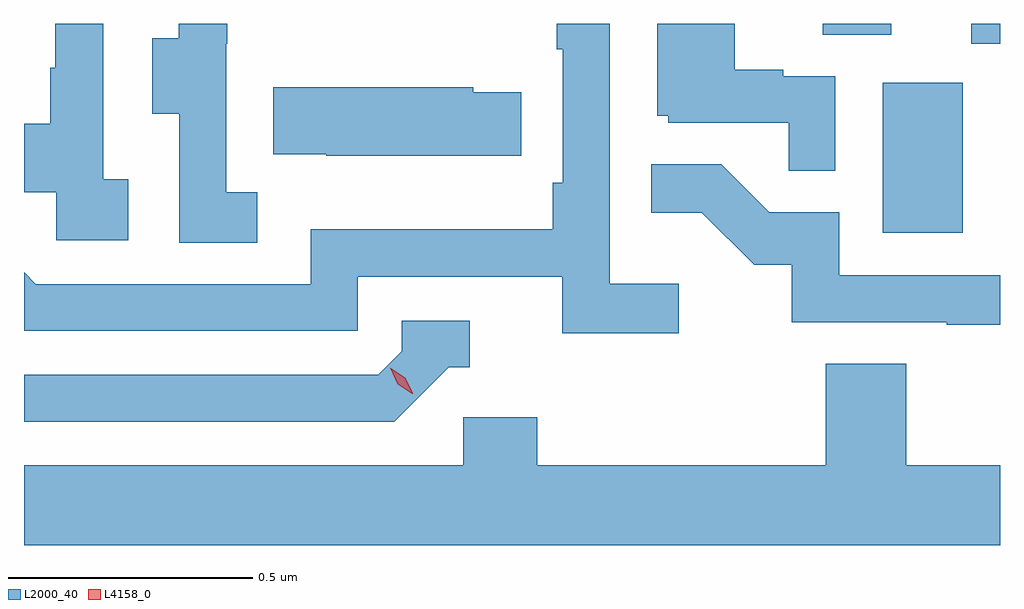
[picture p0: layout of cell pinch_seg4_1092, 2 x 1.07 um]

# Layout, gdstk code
import gdstk
lib = gdstk.Library(unit=1e-6, precision=1e-09)
def R(c, l, rs):  # rectangles x0, y0, x1, y1
    for r in rs: c.add(gdstk.rectangle(r[:2], r[2:], *l))
def P(c, l, *ps):  # polygons
    for p in ps: c.add(gdstk.Polygon(p, *l))
L2000_40 = (2000, 40)
L4158_0 = (4158, 0)

pinch_seg4_1092 = lib.new_cell('pinch_seg4_1092')
R(pinch_seg4_1092, L2000_40, [(853.784,760.164,853.948,760.471), (853.965,760.551,854.024,760.592), (853.661,760.57,853.801,760.592)])
P(pinch_seg4_1092, L2000_40, [(853.686,760.485),(853.58,760.485),(853.58,760.498),(853.48,760.498),(853.48,760.592),(853.322,760.592),(853.322,760.404),(853.344,760.404),(853.344,760.389),(853.591,760.389),(853.591,760.291),(853.686,760.291)],
  [(852.502,760.247),(852.438,760.247),(852.438,760.551),(852.44,760.551),(852.44,760.592),(852.341,760.592),(852.341,760.563),(852.287,760.563),(852.287,760.408),(852.342,760.408),(852.342,760.144),(852.502,760.144)],
  [(853.366,760.06),(853.224,760.06),(853.224,760.592),(853.116,760.592),(853.116,760.54),(853.128,760.54),(853.128,760.267),(853.108,760.267),(853.108,760.171),(852.612,760.171),(852.612,760.059),(852.048,760.059),(852.024,760.083),(852.024,759.963),(852.708,759.963),(852.708,760.074),(853.127,760.074),(853.127,759.958),(853.366,759.958)],
  [(852.238,760.274),(852.186,760.274),(852.186,760.592),(852.088,760.592),(852.088,760.502),(852.078,760.502),(852.078,760.387),(852.024,760.387),(852.024,760.247),(852.09,760.247),(852.09,760.149),(852.238,760.149)],
  [(853.043,760.452),(852.945,760.452),(852.945,760.462),(852.535,760.462),(852.535,760.325),(852.643,760.325),(852.643,760.322),(853.043,760.322)],
  [(854.024,760.077),(853.695,760.077),(853.695,760.206),(853.551,760.206),(853.453,760.304),(853.309,760.304),(853.309,760.205),(853.413,760.205),(853.52,760.098),(853.597,760.098),(853.597,759.981),(853.915,759.981),(853.915,759.976),(854.024,759.976)],
  [(852.894,759.888),(852.937,759.888),(852.937,759.984),(852.798,759.984),(852.798,759.921),(852.75,759.873),(852.024,759.873),(852.024,759.777),(852.783,759.777)],
  [(854.024,759.688),(853.832,759.688),(853.832,759.896),(853.667,759.896),(853.667,759.688),(853.076,759.688),(853.076,759.786),(852.924,759.786),(852.924,759.688),(852.024,759.688),(852.024,759.524),(854.024,759.524)])
P(pinch_seg4_1092, L4158_0, [(852.82,759.834),(852.79,759.854),(852.774,759.887),(852.774,759.887),(852.774,759.887),(852.805,759.867),(852.821,759.835),(852.821,759.834)])

lib.write_gds('pinch_seg4_1092.gds')
